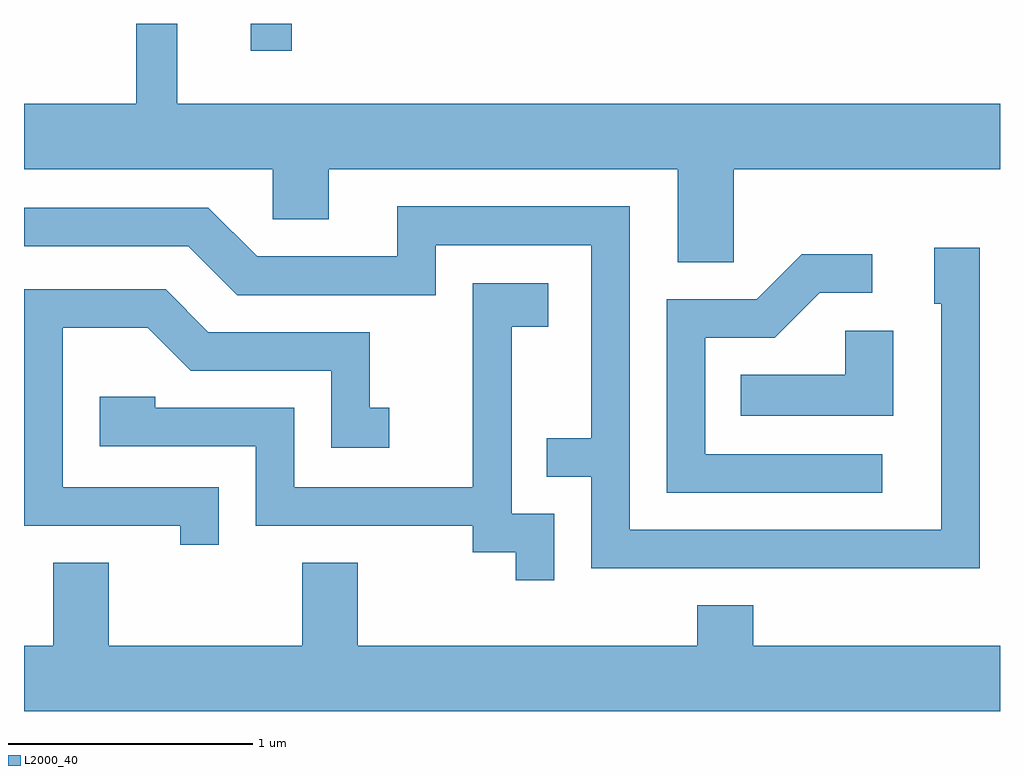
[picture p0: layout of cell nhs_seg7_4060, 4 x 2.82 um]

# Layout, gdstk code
import gdstk
lib = gdstk.Library(unit=1e-6, precision=1e-09)
def R(c, l, rs):  # rectangles x0, y0, x1, y1
    for r in rs: c.add(gdstk.rectangle(r[:2], r[2:], *l))
def P(c, l, *ps):  # polygons
    for p in ps: c.add(gdstk.Polygon(p, *l))
L2000_40 = (2000, 40)

nhs_seg7_4060 = lib.new_cell('nhs_seg7_4060')
R(nhs_seg7_4060, L2000_40, [(310.541,1708.143,310.709,1708.252)])
P(nhs_seg7_4060, L2000_40, [(312.519,1707.656),(313.611,1707.656),(313.611,1707.924),(310.239,1707.924),(310.239,1708.252),(310.071,1708.252),(310.071,1707.924),(309.611,1707.924),(309.611,1707.656),(310.631,1707.656),(310.631,1707.451),(310.859,1707.451),(310.859,1707.656),(312.291,1707.656),(312.291,1707.276),(312.519,1707.276)],
  [(313.529,1707.334),(313.341,1707.334),(313.341,1707.106),(313.371,1707.106),(313.371,1706.179),(312.094,1706.179),(312.094,1707.504),(311.141,1707.504),(311.141,1707.299),(310.567,1707.299),(310.367,1707.499),(309.611,1707.499),(309.611,1707.341),(310.284,1707.341),(310.484,1707.141),(311.299,1707.141),(311.299,1707.346),(311.936,1707.346),(311.936,1706.554),(311.753,1706.554),(311.753,1706.396),(311.936,1706.396),(311.936,1706.021),(313.529,1706.021)],
  [(313.128,1706.489),(312.404,1706.489),(312.404,1706.966),(312.687,1706.966),(312.872,1707.151),(313.088,1707.151),(313.088,1707.309),(312.799,1707.309),(312.614,1707.124),(312.246,1707.124),(312.246,1706.331),(313.128,1706.331)],
  [(311.784,1706.244),(311.609,1706.244),(311.609,1707.011),(311.759,1707.011),(311.759,1707.189),(311.451,1707.189),(311.451,1706.354),(310.719,1706.354),(310.719,1706.679),(310.149,1706.679),(310.149,1706.724),(309.921,1706.724),(309.921,1706.521),(310.561,1706.521),(310.561,1706.196),(311.451,1706.196),(311.451,1706.086),(311.626,1706.086),(311.626,1705.973),(311.784,1705.973)],
  [(310.409,1706.354),(309.769,1706.354),(309.769,1707.006),(310.119,1707.006),(310.294,1706.831),(310.871,1706.831),(310.871,1706.516),(311.108,1706.516),(311.108,1706.679),(311.029,1706.679),(311.029,1706.989),(310.367,1706.989),(310.192,1707.164),(309.611,1707.164),(309.611,1706.196),(310.251,1706.196),(310.251,1706.118),(310.409,1706.118)],
  [(313.174,1706.994),(312.976,1706.994),(312.976,1706.814),(312.548,1706.814),(312.548,1706.646),(313.174,1706.646)],
  [(313.611,1705.704),(312.599,1705.704),(312.599,1705.869),(312.371,1705.869),(312.371,1705.704),(310.979,1705.704),(310.979,1706.044),(310.751,1706.044),(310.751,1705.704),(309.959,1705.704),(309.959,1706.044),(309.731,1706.044),(309.731,1705.704),(309.611,1705.704),(309.611,1705.436),(313.611,1705.436)])

lib.write_gds('nhs_seg7_4060.gds')
